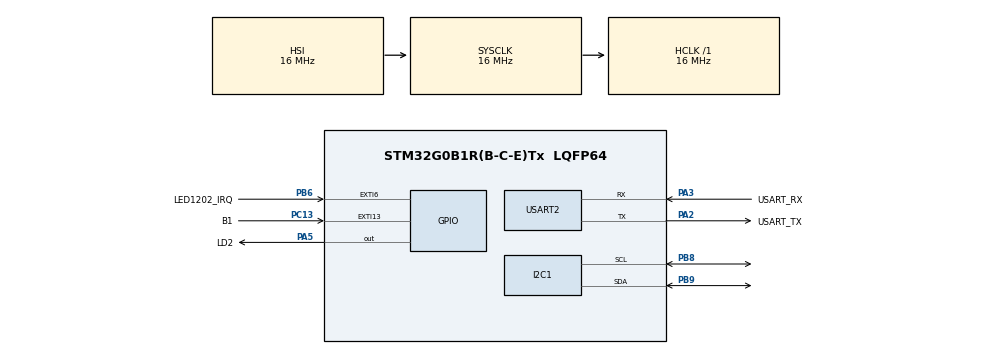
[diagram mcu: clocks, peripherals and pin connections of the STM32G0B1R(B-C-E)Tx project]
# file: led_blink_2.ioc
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Mcu.Family=STM32G0
Mcu.Name=STM32G0B1R(B-C-E)Tx
Mcu.Package=LQFP64
NVIC.USART2_LPUART2_IRQn=true\:0\:0\:false\:false\:true\:true\:true\:true
PA13.GPIO_Label=TMS
PA13.Mode=Serial_Wire
PA13.Signal=SYS_SWDIO
PA14-BOOT0.GPIO_Label=TCK
PA14-BOOT0.Mode=Serial_Wire
PA14-BOOT0.Signal=SYS_SWCLK
PA2.GPIO_Label=USART_TX
PA2.Mode=Asynchronous
PA2.Signal=USART2_TX
PA3.GPIO_Label=USART_RX
PA3.Mode=Asynchronous
PA3.Signal=USART2_RX
PA5.GPIO_Label=LD2
PA5.Signal=GPIO_Output
PB6.GPIO_Label=LED1202_IRQ
PB6.Signal=GPXTI6
PB8.Mode=I2C
PB8.Signal=I2C1_SCL
PB9.Mode=I2C
PB9.Signal=I2C1_SDA
PC13.GPIO_Label=B1
PC13.Signal=GPXTI13
PC14-OSC32_IN\ (PC14).Mode=LSE-External-Oscillator
PC14-OSC32_IN\ (PC14).Signal=RCC_OSC32_IN
PC15-OSC32_OUT\ (PC15).Mode=LSE-External-Oscillator
PC15-OSC32_OUT\ (PC15).Signal=RCC_OSC32_OUT
ProjectManager.HeapSize=0x200
ProjectManager.StackSize=0x400
ProjectManager.TargetToolchain=STM32CubeIDE
RCC.AHBFreq_Value=16000000
RCC.CortexFreq_Value=16000000
RCC.EXTERNAL_CLOCK_VALUE=48000
RCC.HCLKFreq_Value=16000000
RCC.HSE_VALUE=8000000
RCC.HSI48_VALUE=48000000
RCC.HSICalibrationValue=16
RCC.HSI_VALUE=16000000
RCC.SYSCLKFreq_VALUE=16000000
RCC.USBFreq_Value=48000000
RCC.VCOOutputFreq_Value=128000000
TIM2.Period=100
TIM2.Prescaler=25000
TIM3.Period=100
TIM3.Prescaler=25000
USART2.VirtualMode-Asynchronous=VM_ASYNC
VP_TIM2_VS_ClockSourceINT.Mode=Internal
VP_TIM3_VS_ClockSourceINT.Mode=Internal
board=custom

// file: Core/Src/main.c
	/* USER CODE BEGIN Header */
/**
  ******************************************************************************
  * @file           : main.c
  * @brief          : Main program body
  ******************************************************************************
  * @attention
  *
  * Copyright (c) 2023 STMicroelectronics.
  * All rights reserved.
  *
  * This software is licensed under terms that can be found in the LICENSE file
  * in the root directory of this software component.
  * If no LICENSE file comes with this software, it is provided AS-IS.
  *
  ******************************************************************************
  */
/* USER CODE END Header */
#include "main.h"
#include "led12a1.h"
#include "led1202.h"

/* USER CODE BEGIN PM */
#define MAX_CH_CURRENT ((uint8_t)1) // default: 20
#define MIN(X, Y) (((X) < (Y)) ? (X) : (Y))
#define MAX(X, Y) (((X) > (Y)) ? (X) : (Y))
#define M_SIZE 576
#define COLOR_STEP 500
/* USER CODE END PM */

I2C_HandleTypeDef hi2c1;

TIM_HandleTypeDef htim2;
TIM_HandleTypeDef htim3;

UART_HandleTypeDef huart2;

/* USER CODE BEGIN PV */
uint8_t DevAddrArray[10];
static uint8_t matrix[M_SIZE];
static uint8_t color_sequence[COLOR_STEP * 4];
uint8_t NumOfDev = 0;
/* USER CODE END PV */

void SystemClock_Config(void);
static void MX_GPIO_Init(void);
static void MX_I2C1_Init(void);
static void MX_TIM2_Init(void);
static void MX_TIM3_Init(void);
static void MX_USART2_UART_Init(void);
/* USER CODE BEGIN PFP */

static const float _k(float h, float s, float l, float n) {
	return (float)fmod((double)(n + h / 30.0f), 12.0);
}

static const float _f(float h, float s, float l, float n) {
	s /= 100.0f;
	l /= 100.0f;
	const float a = s * MIN((float)l / 100.0f, 1.0f - l);
	return l - a * MAX(-1, MIN(_k(h, s, l, n) - 3.0f, MIN(9.0f - _k(h, s, l, n), 1)));
}

static const uint8_t hsl_r(float h, float s, float l) {
	return (uint8_t)(255.0f * _f(h, s, l, 0.0f));
}

static const uint8_t hsl_g(float h, float s, float l) {
	return (uint8_t)(255.0f * _f(h, s, l, 8.0f));
}

static const uint8_t hsl_b(float h, float s, float l) {
	return (uint8_t)(255.0f * _f(h, s, l, 4.0f));
}

/* n - nth LED, brightness: [0, 100] */
static void set_led_state(uint8_t dev, uint8_t channel, uint8_t brightness);

static void upload_matrix();
static void set_full_color(uint8_t r, uint8_t g, uint8_t b, uint8_t a);
static void init_matrix();

/* USER CODE END PFP */

int main(void)
{
  /* USER CODE BEGIN 1 */
	float h;
	for (int i = 0; i < COLOR_STEP; i++)
	{
	  h = (float)(i) * 360.0f/(float)COLOR_STEP;
	  color_sequence[i*4] 		= hsl_r(h, 100.0f, 50.0f);
	  color_sequence[i*4+1] 	= hsl_g(h, 100.0f, 50.0f);
	  color_sequence[i*4+2] 	= hsl_b(h, 100.0f, 50.0f);
	  color_sequence[i*4+3] 	= 5;
	}
  /* USER CODE END 1 */

  /* MCU Configuration--------------------------------------------------------*/

  /* Reset of all peripherals, Initializes the Flash interface and the Systick. */
  HAL_Init();

  /* Configure the system clock */
  SystemClock_Config();

  /* Initialize all configured peripherals */
  MX_GPIO_Init();
  MX_I2C1_Init();
  MX_TIM2_Init();
  MX_TIM3_Init();
  MX_USART2_UART_Init();
  /* USER CODE BEGIN 2 */
  HAL_Delay(100);

  //set_full_color(255, 255, 255, 2);
  init_matrix();

  /* USER CODE END 2 */

  /* Infinite loop */
  /* USER CODE BEGIN WHILE */

  uint16_t i = 0;

  while (1)
  {
    /* USER CODE END WHILE */
	set_full_color(color_sequence[i], color_sequence[i+1], color_sequence[i+2], color_sequence[i+3]);
	upload_matrix();
	i = (i+1) % COLOR_STEP;
	HAL_Delay(100);

  }
}

void SystemClock_Config(void)
{
  RCC_OscInitTypeDef RCC_OscInitStruct = {0};
  RCC_ClkInitTypeDef RCC_ClkInitStruct = {0};

  /** Configure the main internal regulator output voltage
  */
  HAL_PWREx_ControlVoltageScaling(PWR_REGULATOR_VOLTAGE_SCALE1);

  /** Initializes the RCC Oscillators according to the specified parameters
  * in the RCC_OscInitTypeDef structure.
  */
  RCC_OscInitStruct.OscillatorType = RCC_OSCILLATORTYPE_HSI;
  RCC_OscInitStruct.HSIState = RCC_HSI_ON;
  RCC_OscInitStruct.HSIDiv = RCC_HSI_DIV1;
  RCC_OscInitStruct.HSICalibrationValue = 16;
  RCC_OscInitStruct.PLL.PLLState = RCC_PLL_NONE;
  if (HAL_RCC_OscConfig(&RCC_OscInitStruct) != HAL_OK)
  {
    Error_Handler();
  }

  /** Initializes the CPU, AHB and APB buses clocks
  */
  RCC_ClkInitStruct.ClockType = RCC_CLOCKTYPE_HCLK|RCC_CLOCKTYPE_SYSCLK
                              |RCC_CLOCKTYPE_PCLK1;
  RCC_ClkInitStruct.SYSCLKSource = RCC_SYSCLKSOURCE_HSI;
  RCC_ClkInitStruct.AHBCLKDivider = RCC_SYSCLK_DIV1;
  RCC_ClkInitStruct.APB1CLKDivider = RCC_HCLK_DIV1;

  if (HAL_RCC_ClockConfig(&RCC_ClkInitStruct, FLASH_LATENCY_0) != HAL_OK)
  {
    Error_Handler();
  }
}

static void MX_I2C1_Init(void)
{

  hi2c1.Instance = I2C1;
  hi2c1.Init.Timing = 0x00303D5B;
  hi2c1.Init.OwnAddress1 = 0;
  hi2c1.Init.AddressingMode = I2C_ADDRESSINGMODE_7BIT;
  hi2c1.Init.DualAddressMode = I2C_DUALADDRESS_DISABLE;
  hi2c1.Init.OwnAddress2 = 0;
  hi2c1.Init.OwnAddress2Masks = I2C_OA2_NOMASK;
  hi2c1.Init.GeneralCallMode = I2C_GENERALCALL_DISABLE;
  hi2c1.Init.NoStretchMode = I2C_NOSTRETCH_DISABLE;
  if (HAL_I2C_Init(&hi2c1) != HAL_OK)
  {
    Error_Handler();
  }

  /** Configure Analogue filter
  */
  if (HAL_I2CEx_ConfigAnalogFilter(&hi2c1, I2C_ANALOGFILTER_ENABLE) != HAL_OK)
  {
    Error_Handler();
  }

  /** Configure Digital filter
  */
  if (HAL_I2CEx_ConfigDigitalFilter(&hi2c1, 0) != HAL_OK)
  {
    Error_Handler();
  }

}

static void MX_TIM2_Init(void)
{

  TIM_ClockConfigTypeDef sClockSourceConfig = {0};
  TIM_MasterConfigTypeDef sMasterConfig = {0};

  htim2.Instance = TIM2;
  htim2.Init.Prescaler = 25000;
  htim2.Init.CounterMode = TIM_COUNTERMODE_UP;
  htim2.Init.Period = 100;
  htim2.Init.ClockDivision = TIM_CLOCKDIVISION_DIV1;
  htim2.Init.AutoReloadPreload = TIM_AUTORELOAD_PRELOAD_DISABLE;
  if (HAL_TIM_Base_Init(&htim2) != HAL_OK)
  {
    Error_Handler();
  }
  sClockSourceConfig.ClockSource = TIM_CLOCKSOURCE_INTERNAL;
  if (HAL_TIM_ConfigClockSource(&htim2, &sClockSourceConfig) != HAL_OK)
  {
    Error_Handler();
  }
  sMasterConfig.MasterOutputTrigger = TIM_TRGO_RESET;
  sMasterConfig.MasterSlaveMode = TIM_MASTERSLAVEMODE_DISABLE;
  if (HAL_TIMEx_MasterConfigSynchronization(&htim2, &sMasterConfig) != HAL_OK)
  {
    Error_Handler();
  }

}

static void MX_TIM3_Init(void)
{

  TIM_ClockConfigTypeDef sClockSourceConfig = {0};
  TIM_MasterConfigTypeDef sMasterConfig = {0};

  htim3.Instance = TIM3;
  htim3.Init.Prescaler = 25000;
  htim3.Init.CounterMode = TIM_COUNTERMODE_UP;
  htim3.Init.Period = 100;
  htim3.Init.ClockDivision = TIM_CLOCKDIVISION_DIV1;
  htim3.Init.AutoReloadPreload = TIM_AUTORELOAD_PRELOAD_DISABLE;
  if (HAL_TIM_Base_Init(&htim3) != HAL_OK)
  {
    Error_Handler();
  }
  sClockSourceConfig.ClockSource = TIM_CLOCKSOURCE_INTERNAL;
  if (HAL_TIM_ConfigClockSource(&htim3, &sClockSourceConfig) != HAL_OK)
  {
    Error_Handler();
  }
  sMasterConfig.MasterOutputTrigger = TIM_TRGO_RESET;
  sMasterConfig.MasterSlaveMode = TIM_MASTERSLAVEMODE_DISABLE;
  if (HAL_TIMEx_MasterConfigSynchronization(&htim3, &sMasterConfig) != HAL_OK)
  {
    Error_Handler();
  }

}

static void MX_USART2_UART_Init(void)
{

  huart2.Instance = USART2;
  huart2.Init.BaudRate = 115200;
  huart2.Init.WordLength = UART_WORDLENGTH_8B;
  huart2.Init.StopBits = UART_STOPBITS_1;
  huart2.Init.Parity = UART_PARITY_NONE;
  huart2.Init.Mode = UART_MODE_TX_RX;
  huart2.Init.HwFlowCtl = UART_HWCONTROL_NONE;
  huart2.Init.OverSampling = UART_OVERSAMPLING_16;
  huart2.Init.OneBitSampling = UART_ONE_BIT_SAMPLE_DISABLE;
  huart2.Init.ClockPrescaler = UART_PRESCALER_DIV1;
  huart2.AdvancedInit.AdvFeatureInit = UART_ADVFEATURE_NO_INIT;
  if (HAL_UART_Init(&huart2) != HAL_OK)
  {
    Error_Handler();
  }
  if (HAL_UARTEx_SetTxFifoThreshold(&huart2, UART_TXFIFO_THRESHOLD_1_8) != HAL_OK)
  {
    Error_Handler();
  }
  if (HAL_UARTEx_SetRxFifoThreshold(&huart2, UART_RXFIFO_THRESHOLD_1_8) != HAL_OK)
  {
    Error_Handler();
  }
  if (HAL_UARTEx_DisableFifoMode(&huart2) != HAL_OK)
  {
    Error_Handler();
  }

}

static void MX_GPIO_Init(void)
{
  GPIO_InitTypeDef GPIO_InitStruct = {0};

  /* GPIO Ports Clock Enable */
  __HAL_RCC_GPIOC_CLK_ENABLE();
  __HAL_RCC_GPIOA_CLK_ENABLE();
  __HAL_RCC_GPIOB_CLK_ENABLE();

  /*Configure GPIO pin Output Level */
  HAL_GPIO_WritePin(LD2_GPIO_Port, LD2_Pin, GPIO_PIN_RESET);

  /*Configure GPIO pin : B1_Pin */
  GPIO_InitStruct.Pin = B1_Pin;
  GPIO_InitStruct.Mode = GPIO_MODE_IT_RISING;
  GPIO_InitStruct.Pull = GPIO_NOPULL;
  HAL_GPIO_Init(B1_GPIO_Port, &GPIO_InitStruct);

  /*Configure GPIO pin : LD2_Pin */
  GPIO_InitStruct.Pin = LD2_Pin;
  GPIO_InitStruct.Mode = GPIO_MODE_OUTPUT_PP;
  GPIO_InitStruct.Pull = GPIO_NOPULL;
  GPIO_InitStruct.Speed = GPIO_SPEED_FREQ_LOW;
  HAL_GPIO_Init(LD2_GPIO_Port, &GPIO_InitStruct);

  /*Configure GPIO pin : LED1202_IRQ_Pin */
  GPIO_InitStruct.Pin = LED1202_IRQ_Pin;
  GPIO_InitStruct.Mode = GPIO_MODE_IT_RISING;
  GPIO_InitStruct.Pull = GPIO_NOPULL;
  HAL_GPIO_Init(LED1202_IRQ_GPIO_Port, &GPIO_InitStruct);

}

/* USER CODE BEGIN 4 */
static void set_full_color(uint8_t r, uint8_t g, uint8_t b, uint8_t a)
{
	for (int i = 0; i < M_SIZE; i += 4)
	{
		matrix[i] 	= r;
		matrix[i+1] = g;
		matrix[i+2] = b;
		matrix[i+3] = a;
	}
}

static void upload_matrix()
{
	uint8_t a_shift = 0;
	uint8_t n, n_bright;
	for (uint8_t dev = 0; dev < 4; ++dev)
	  {
		for (uint8_t channel = 0; channel < 12; ++channel)
		{
			a_shift 	= (uint8_t)((float)channel / 3.0f);
			n 			= 16 * dev + channel + a_shift;
			n_bright 	= 16 * dev + 4 * a_shift + 3;
			set_led_state(dev, channel, (uint8_t)((float)matrix[n] * (float)matrix[n_bright] / 100.0f));
		}
	  }
}

static void set_led_state(uint8_t dev, uint8_t channel, uint8_t brightness)
{
	if (brightness == 0) {
		//LED12A1_ChannelDisable(&LED1202Obj, (TypeDefChannel)(LED_CHANNEL_0 << channel),  (TypedefEnumDevAddr)(LED_DEVICE1 + dev));
		brightness += 1;
		//return;
	}

	//uint32_t digCurrReg =  4095;
	//LED12A1_ChannelEnable(&LED1202Obj, (TypeDefChannel)(LED_CHANNEL_0 << channel),  (TypedefEnumDevAddr)(LED_DEVICE1 + dev));
	LED12A1_AnalogDimming(&LED1202Obj, (uint8_t)(MAX_CH_CURRENT * (float)brightness / 100.0f), channel, (TypedefEnumDevAddr)(LED_DEVICE1 + dev));
	//LED12A1_DigitalDimming(&LED1202Obj, &digCurrReg, channel, 0, (TypedefEnumDevAddr)(LED_DEVICE1 + dev));
	//LED12A1_DigitalDimming(&LED1202Obj, &digCurrReg, channel, 0, (TypedefEnumDevAddr)(LED_DEVICE1 + dev));
}

static void init_matrix()
{
	LED12A1_Init();
	NumOfDev = LED12A1_ScanAvailDevice(&LED1202Obj, DevAddrArray);

	for (uint8_t dev = 0;dev<NumOfDev;dev++) {
	  LED12A1_DeviceEnable(&LED1202Obj , (TypedefEnumDevAddr)(LED_DEVICE1 + dev));
	  LED12A1_ChannelDisable( &LED1202Obj , LED_CHANNEL_ALL , (TypedefEnumDevAddr)( LED_DEVICE1 + dev));
	}

	for (uint8_t dev = 0; dev < 4; ++dev) {
		for (uint8_t channel = 0; channel < 12; ++channel) {
			LED12A1_ChannelEnable(&LED1202Obj, (TypeDefChannel)(LED_CHANNEL_0 << channel),  (TypedefEnumDevAddr)(LED_DEVICE1 + dev));
		}
	}

}

/* USER CODE END 4 */

void Error_Handler(void)
{
  __disable_irq();
  while (1)
  {
  }
}
